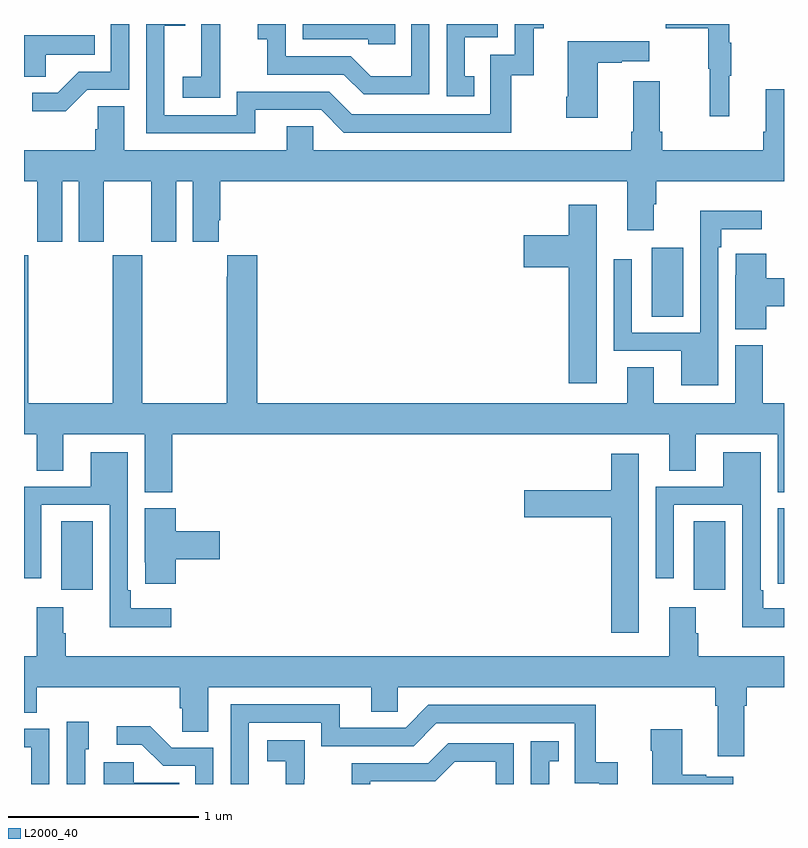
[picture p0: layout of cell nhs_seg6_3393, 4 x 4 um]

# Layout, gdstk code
import gdstk
lib = gdstk.Library(unit=1e-6, precision=1e-09)
def R(c, l, rs):  # rectangles x0, y0, x1, y1
    for r in rs: c.add(gdstk.rectangle(r[:2], r[2:], *l))
def P(c, l, *ps):  # polygons
    for p in ps: c.add(gdstk.Polygon(p, *l))
L2000_40 = (2000, 40)

nhs_seg6_3393 = lib.new_cell('nhs_seg6_3393')
R(nhs_seg6_3393, L2000_40, [(311.195,942.522,311.362,942.884), (314.525,942.522,314.692,942.884), (314.966,942.555,315,942.951), (314.303,943.96,314.47,944.323)])
P(nhs_seg6_3393, L2000_40, [(312.217,945.048),(312.564,945.048),(312.684,944.928),(313.564,944.928),(313.564,945.231),(313.682,945.231),(313.682,945.477),(313.735,945.477),(313.735,945.5),(313.584,945.5),(313.584,945.339),(313.455,945.339),(313.455,945.024),(312.726,945.024),(312.606,945.144),(312.12,945.144),(312.12,945.021),(311.739,945.021),(311.739,945.49),(311.849,945.49),(311.849,945.5),(311.643,945.5),(311.643,944.925),(312.217,944.925)],
  [(311.334,945.153),(311.553,945.153),(311.553,945.5),(311.457,945.5),(311.457,945.249),(311.288,945.249),(311.177,945.138),(311.043,945.138),(311.043,945.041),(311.221,945.041)],
  [(314.711,945.227),(314.722,945.227),(314.722,945.401),(314.711,945.401),(314.711,945.5),(313.845,945.5),(313.845,945.498),(314.377,945.498),(314.377,945.478),(314.601,945.478),(314.601,945.264),(314.608,945.264),(314.608,945.015),(314.711,945.015)],
  [(312.033,945.319),(312.032,945.319),(312.032,945.5),(311.934,945.5),(311.934,945.452),(311.933,945.452),(311.933,945.223),(311.835,945.223),(311.835,945.113),(312.033,945.113)],
  [(312.953,945.5),(312.468,945.5),(312.468,945.42),(312.813,945.42),(312.813,945.393),(312.953,945.393)],
  [(313.134,945.5),(313.038,945.5),(313.038,945.226),(312.824,945.226),(312.72,945.33),(312.378,945.33),(312.378,945.5),(312.231,945.5),(312.231,945.419),(312.28,945.419),(312.28,945.234),(312.683,945.234),(312.788,945.129),(313.134,945.129)],
  [(313.37,945.225),(313.321,945.225),(313.321,945.429),(313.494,945.429),(313.494,945.5),(313.224,945.5),(313.224,945.12),(313.37,945.12)],
  [(311.115,945.338),(311.372,945.338),(311.372,945.442),(311,945.442),(311,945.223),(311.115,945.223)],
  [(314.02,945.295),(314.147,945.295),(314.147,945.305),(314.29,945.305),(314.29,945.409),(313.862,945.409),(313.862,945.118),(313.855,945.118),(313.855,945.006),(314.02,945.006)],
  [(314.207,944.932),(314.195,944.932),(314.195,944.836),(312.522,944.836),(312.522,944.963),(312.383,944.963),(312.383,944.836),(311.527,944.836),(311.527,945.068),(311.388,945.068),(311.388,944.945),(311.375,944.945),(311.375,944.836),(311,944.836),(311,944.672),(311.069,944.672),(311.069,944.355),(311.2,944.355),(311.2,944.672),(311.288,944.672),(311.288,944.355),(311.419,944.355),(311.419,944.672),(311.669,944.672),(311.669,944.355),(311.8,944.355),(311.8,944.672),(311.888,944.672),(311.888,944.355),(312.025,944.355),(312.025,944.467),(312.032,944.467),(312.032,944.672),(314.174,944.672),(314.174,944.415),(314.314,944.415),(314.314,944.552),(314.327,944.552),(314.327,944.672),(315,944.672),(315,945.157),(314.903,945.157),(314.903,944.932),(314.891,944.932),(314.891,944.836),(314.36,944.836),(314.36,944.932),(314.347,944.932),(314.347,945.199),(314.207,945.199)],
  [(314.014,944.548),(313.868,944.548),(313.868,944.389),(313.629,944.389),(313.629,944.219),(313.868,944.219),(313.868,943.608),(314.014,943.608)],
  [(314.655,944.324),(314.671,944.324),(314.671,944.42),(314.884,944.42),(314.884,944.518),(314.559,944.518),(314.559,943.875),(314.199,943.875),(314.199,944.263),(314.103,944.263),(314.103,943.779),(314.459,943.779),(314.459,943.598),(314.655,943.598)],
  [(314.906,944.015),(315,944.015),(315,944.162),(314.906,944.162),(314.906,944.29),(314.745,944.29),(314.745,944.177),(314.744,944.177),(314.744,943.894),(314.906,943.894)],
  [(311.78,943.34),(314.396,943.34),(314.396,943.15),(314.536,943.15),(314.536,943.34),(314.966,943.34),(314.966,943.036),(315,943.036),(315,943.504),(314.888,943.504),(314.888,943.809),(314.744,943.809),(314.744,943.504),(314.314,943.504),(314.314,943.694),(314.174,943.694),(314.174,943.504),(312.227,943.504),(312.227,944.284),(312.071,944.284),(312.071,944.171),(312.067,944.171),(312.067,943.504),(311.622,943.504),(311.622,944.284),(311.467,944.284),(311.467,943.504),(311.022,943.504),(311.022,944.284),(311,944.284),(311,943.34),(311.066,943.34),(311.066,943.15),(311.206,943.15),(311.206,943.34),(311.636,943.34),(311.636,943.036),(311.78,943.036)],
  [(315,942.424),(314.89,942.424),(314.89,942.52),(314.877,942.52),(314.877,943.246),(314.681,943.246),(314.681,943.065),(314.325,943.065),(314.325,942.582),(314.421,942.582),(314.421,942.969),(314.781,942.969),(314.781,942.326),(315,942.326)],
  [(311.776,942.424),(311.563,942.424),(311.563,942.52),(311.547,942.52),(311.547,943.246),(311.351,943.246),(311.351,943.065),(311,943.065),(311,942.582),(311.091,942.582),(311.091,942.969),(311.451,942.969),(311.451,942.326),(311.776,942.326)],
  [(314.236,943.237),(314.09,943.237),(314.09,943.047),(313.632,943.047),(313.632,942.905),(314.09,942.905),(314.09,942.297),(314.236,942.297)],
  [(311.798,942.683),(312.031,942.683),(312.031,942.83),(311.798,942.83),(311.798,942.951),(311.636,942.951),(311.636,942.667),(311.637,942.667),(311.637,942.555),(311.798,942.555)],
  [(314.791,941.912),(314.804,941.912),(314.804,942.008),(315,942.008),(315,942.172),(314.549,942.172),(314.549,942.293),(314.536,942.293),(314.536,942.43),(314.396,942.43),(314.396,942.172),(311.219,942.172),(311.219,942.293),(311.206,942.293),(311.206,942.43),(311.066,942.43),(311.066,942.172),(311,942.172),(311,941.875),(311.066,941.875),(311.066,942.008),(311.819,942.008),(311.819,941.899),(311.832,941.899),(311.832,941.776),(311.971,941.776),(311.971,942.008),(312.827,942.008),(312.827,941.881),(312.966,941.881),(312.966,942.008),(314.639,942.008),(314.639,941.912),(314.651,941.912),(314.651,941.646),(314.791,941.646)],
  [(312.183,941.823),(312.564,941.823),(312.564,941.7),(313.05,941.7),(313.17,941.82),(313.899,941.82),(313.899,941.505),(314.028,941.505),(314.028,941.5),(314.126,941.5),(314.126,941.614),(314.008,941.614),(314.008,941.916),(313.128,941.916),(313.008,941.796),(312.661,941.796),(312.661,941.919),(312.087,941.919),(312.087,941.5),(312.183,941.5)],
  [(311.322,941.682),(311.341,941.682),(311.341,941.827),(311.226,941.827),(311.226,941.5),(311.322,941.5)],
  [(311.997,941.691),(311.778,941.691),(311.665,941.804),(311.487,941.804),(311.487,941.706),(311.621,941.706),(311.732,941.595),(311.901,941.595),(311.901,941.5),(311.997,941.5)],
  [(311.133,941.79),(311,941.79),(311,941.694),(311.037,941.694),(311.037,941.5),(311.133,941.5)],
  [(314.734,941.539),(314.591,941.539),(314.591,941.549),(314.464,941.549),(314.464,941.788),(314.299,941.788),(314.299,941.675),(314.306,941.675),(314.306,941.5),(314.734,941.5)],
  [(312.476,941.525),(312.477,941.525),(312.477,941.731),(312.279,941.731),(312.279,941.621),(312.377,941.621),(312.377,941.5),(312.476,941.5)],
  [(313.765,941.619),(313.814,941.619),(313.814,941.725),(313.668,941.725),(313.668,941.5),(313.765,941.5)],
  [(312.822,941.514),(313.164,941.514),(313.268,941.618),(313.482,941.618),(313.482,941.5),(313.578,941.5),(313.578,941.715),(313.232,941.715),(313.127,941.61),(312.724,941.61),(312.724,941.5),(312.822,941.5)],
  [(311.816,941.506),(311.577,941.506),(311.577,941.614),(311.42,941.614),(311.42,941.5),(311.816,941.5)])

lib.write_gds('nhs_seg6_3393.gds')
